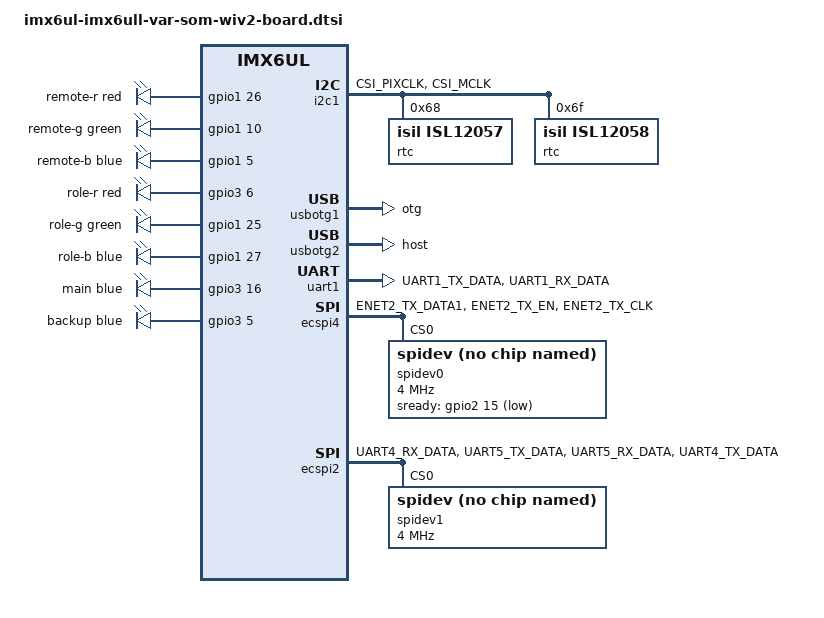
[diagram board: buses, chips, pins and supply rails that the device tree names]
/*
 * Copyright (C) 2019 Variscite Ltd. - https://www.variscite.com
 *
 * This program is free software; you can redistribute it and/or modify
 * it under the terms of the GNU General Public License version 2 as
 * published by the Free Software Foundation.
 */

#include <dt-bindings/leds/common.h>

/ {
	/* UART Console*/
	chosen {
		stdout-path = &uart1;
	};

	/* Concerto BP*/
	/*keys {
		compatible = "gpio-keys";
		pinctrl-names = "default";
		pinctrl-0 = <&pinctrl_gpio_keys>, <&pinctrl_gpio_keys_snvs>;

		back {
			gpios = <&gpio4 14 GPIO_ACTIVE_LOW>;
			linux,code = <KEY_BACK>;
		};

		wakeup {
			gpios = <&gpio5 8 GPIO_ACTIVE_LOW>;
			linux,code = <KEY_WAKEUP>;
			gpio-key,wakeup;
		};
	};*/

	leds {
		compatible = "gpio-leds";
		pinctrl-names = "default";
		pinctrl-0 = <&pinctrl_gpio_leds>;

		remote-R {
			gpios = <&gpio1 26 GPIO_ACTIVE_HIGH>;
			color = <LED_COLOR_ID_RED>;
			label = "remote-r";
		};
		remote-G {
			gpios = <&gpio1 10 GPIO_ACTIVE_HIGH>;
			color = <LED_COLOR_ID_GREEN>;
			label = "remote-g";
		};
		remote-B {
			gpios = <&gpio1 5 GPIO_ACTIVE_HIGH>;
			color = <LED_COLOR_ID_BLUE>;
			label = "remote-b";
			default-state = "on";
		};
		role-R {
			gpios = <&gpio3 6 GPIO_ACTIVE_HIGH>;
			color = <LED_COLOR_ID_RED>;
			label = "role-r";
		};
		role-G {
			gpios = <&gpio1 25 GPIO_ACTIVE_HIGH>;
			color = <LED_COLOR_ID_GREEN>;
			label = "role-g";
		};
		role-B {
			gpios = <&gpio1 27 GPIO_ACTIVE_HIGH>;
			color = <LED_COLOR_ID_BLUE>;
			label = "role-b";
			default-state = "on";
		};
		main {
			gpios = <&gpio3 16 GPIO_ACTIVE_HIGH>;
			color = <LED_COLOR_ID_BLUE>;
			label = "main";
			default-state = "on";
		};
		backup {
			gpios = <&gpio3 5 GPIO_ACTIVE_HIGH>;
			color = <LED_COLOR_ID_BLUE>;
			label = "backup";
			default-state = "on";
		};
	};

	/* 7.1 audio */
	/*sound-cs42888 {
		compatible = "fsl,imx-audio-cs42888";
		model = "imx-cs42888";
		audio-cpu = <&esai>;
		audio-asrc = <&asrc>;
		#audio-codec = <&codec>;
		audio-routing =
			"Line Out Jack", "O1ALL",
			"Line Out Jack", "O2CR",
			"Line Out Jack", "O3ABCR",
			"Line Out Jack", "O4TBD",
			"Line Out Jack", "O5TBD",
			"Line Out Jack", "O6TBD",
			"Line Out Jack", "O7TBD",
			"Line Out Jack", "O8TBD",
			"I1TBD", "Line In Jack",
			"I2TBD", "Line In Jack",
			"I3TBD", "Line In Jack",
			"I4TBD", "Line In Jack";
	};*/
};

&fec1 {
	pinctrl-0 = <&pinctrl_enet1>, <&pinctrl_enet1_gpio>;
	/*/delete-node/ mdio;*/
};

&fec2 {
	status = "disabled";
	/*pinctrl-names = "default";
	pinctrl-0 = <&pinctrl_enet2>, <&pinctrl_enet2_gpio>, <&pinctrl_enet2_mdio>;
	phy-mode = "rmii";
	phy-handle = <&ethphy1>;
	phy-reset-gpios=<&gpio5 5 GPIO_ACTIVE_LOW>;
	phy-reset-duration=<100>;

	mdio {
		#address-cells = <1>;
		#size-cells = <0>;

		ethphy0: ethernet-phy@1 {
			compatible = "ethernet-phy-ieee802.3-c22";
			micrel,rmii-reference-clock-select-25-mhz;
			micrel,led-mode = <1>;
			clocks = <&rmii_ref_clk>;
			clock-names = "rmii-ref";
			reg = <1>;
		};

		ethphy1: ethernet-phy@3 {
			compatible = "ethernet-phy-ieee802.3-c22";
			micrel,rmii-reference-clock-select-25-mhz;
			micrel,led-mode = <0>;
			clocks = <&rmii_ref_clk>;
			clock-names = "rmii-ref";
			reg = <3>;
		};
	};*/
};

/*I2C for RTC*/
&i2c1 {
	clock_frequency = <400000>;			//<100000>;
	pinctrl-names = "default";
	pinctrl-0 = <&pinctrl_i2c1>;
	status = "okay";

	// ISL12057 RTC module
	rtc@68 {
		compatible = "isil,isl12057";
		reg = <0x68>;
		pinctrl-names = "default";
	};

	// ISL12058 RTC module
	rtc@6f {
		compatible = "isil,isl12058";
		reg = <0x6f>;
		pinctrl-names = "default";
	};
};

&iomuxc {
	// pinctrl_enet2: enet2grp {
	// 	fsl,pins = <
	// 		MX6UL_PAD_ENET2_RX_EN__ENET2_RX_EN	0x1b0b0
	// 		MX6UL_PAD_ENET2_RX_ER__ENET2_RX_ER	0x1b0b0
	// 		MX6UL_PAD_ENET2_RX_DATA0__ENET2_RDATA00	0x1b0b0
	// 		MX6UL_PAD_ENET2_RX_DATA1__ENET2_RDATA01	0x1b0b0
	// 		MX6UL_PAD_ENET2_TX_EN__ENET2_TX_EN	0x1b0b0
	// 		MX6UL_PAD_ENET2_TX_DATA0__ENET2_TDATA00	0x1b0b0
	// 		MX6UL_PAD_ENET2_TX_DATA1__ENET2_TDATA01	0x1b0b0
	// 		MX6UL_PAD_ENET2_TX_CLK__ENET2_REF_CLK2	0x4001b031
	// 	>;
	// };

	// pinctrl_enet2_mdio: enet2_mdiogrp {
	// 	fsl,pins = <
	// 		MX6UL_PAD_GPIO1_IO06__ENET2_MDIO	0x1b0b0
	// 		MX6UL_PAD_GPIO1_IO07__ENET2_MDC		0x1b0b0
	// 	>;
	// };

	// pinctrl_gpio_keys: gpio_keysgrp {
	// 	fsl,pins = <
	// 		MX6UL_PAD_NAND_CE1_B__GPIO4_IO14	0x17059 /*BP Back */
	// 	>;
	// };
	/* will be top sync STM*/
	// pinctrl_gpio_leds: gpio_ledsgrp {
	// 	fsl,pins = <
	// 		MX6UL_PAD_UART3_RX_DATA__GPIO1_IO25	0x1b0b0	/* GPLED2 */
	// 	>;
	// };

	pinctrl_gpio_leds: gpio_ledsgrp {
		fsl,pins = <
			MX6UL_PAD_GPIO1_IO05__GPIO1_IO05	0x1b0b0	/* LED Remote blue */
			MX6UL_PAD_JTAG_MOD__GPIO1_IO10		0x1b0b0	/* LED Remote green */
			MX6UL_PAD_UART3_CTS_B__GPIO1_IO26	0x1b0b0	/* LED Remote red */
			MX6UL_PAD_UART3_RTS_B__GPIO1_IO27	0x1b0b0	/* LED Role blue */
			MX6UL_PAD_UART3_RX_DATA__GPIO1_IO25	0x1b0b0	/* LED Role green */
			MX6UL_PAD_LCD_DATA01__GPIO3_IO06	0x1b0b0	/* LED Role blue */
			MX6UL_PAD_LCD_DATA00__GPIO3_IO05	0x1b0b0	/* LED backup blue */
			MX6UL_PAD_LCD_DATA11__GPIO3_IO16	0x1b0b0	/* LED main blue */
		>;
	};

	/* I2C for RTC */
	pinctrl_i2c1: i2c1grp {
		fsl,pins = <
			MX6UL_PAD_CSI_PIXCLK__I2C1_SCL		0x4001b8b0
			MX6UL_PAD_CSI_MCLK__I2C1_SDA		0x4001b8b0
		>;
	};

	/* RTC IRQ --> will be clk STM32*/
	// pinctrl_rtc: rtcgrp {
	// 	fsl,pins = <
	// 		MX6UL_PAD_JTAG_MOD__GPIO1_IO10		0x1b0b0 /* RTC alarm IRQ */
	// 	>;
	// };

	/* UARD debug console pinout*/
	pinctrl_uart1: uart1grp {
		fsl,pins = <
			MX6UL_PAD_UART1_TX_DATA__UART1_DCE_TX	0x1b0b1
			MX6UL_PAD_UART1_RX_DATA__UART1_DCE_RX	0x1b0b1
		>;
	};

	/* UART STM <-> WEB (configurateur) */
	pinctrl_uart5: uart5grp {
		fsl,pins = <
			MX6UL_PAD_CSI_DATA00__UART5_DCE_TX	0x1b0b1
			MX6UL_PAD_CSI_DATA01__UART5_DCE_RX	0x1b0b1
			/*MX6UL_PAD_GPIO1_IO09__UART5_DCE_CTS	0x1b0b1
			MX6UL_PAD_GPIO1_IO08__UART5_DCE_RTS	0x1b0b1*/
		>;
	};

	// pinctrl_usb_otg1_id: usbotg1idgrp {
	// 	fsl,pins = <
	// 		MX6UL_PAD_UART3_TX_DATA__ANATOP_OTG1_ID	0x17059
	// 	>;
	// };

	/*pinctrl_wdog: wdoggrp {
		fsl,pins = <
			MX6UL_PAD_GPIO1_IO01__WDOG1_WDOG_B	0x78b0
		>;
	};*/

	/*pinctrl_esai: esaigrp {
		fsl,pins = <
			MX6ULL_PAD_CSI_DATA05__ESAI_TX_CLK 	0x1b030
			MX6ULL_PAD_CSI_DATA04__ESAI_TX_FS   0x1b030
			MX6ULL_PAD_CSI_MCLK__ESAI_TX3_RX2 	0x1b030
			MX6ULL_PAD_CSI_PIXCLK__ESAI_TX2_RX3 0x1b030
			MX6ULL_PAD_CSI_VSYNC__ESAI_TX4_RX1  0x1b030
			MX6ULL_PAD_CSI_DATA06__ESAI_TX5_RX0 0x1b030
			MX6ULL_PAD_CSI_DATA07__ESAI_T0      0x1b030
			MX6ULL_PAD_CSI_HSYNC__ESAI_TX1      0x1b030
			MX6ULL_PAD_CSI_DATA03__ESAI_RX_CLK  0x1b030
			MX6ULL_PAD_CSI_DATA02__ESAI_RX_FS   0x1b030
		>;
	};*/

	/* Audio SAI1 / I2S1 */
	pinctrl_sai1: sai1grp {
		fsl,pins = <
			MX6UL_PAD_CSI_DATA07__SAI1_TX_DATA	0x1f0b8
			MX6UL_PAD_CSI_DATA06__SAI1_RX_DATA	0x110b0
			MX6UL_PAD_CSI_DATA05__SAI1_TX_BCLK	0x1b0b0
			MX6UL_PAD_CSI_DATA04__SAI1_TX_SYNC	0x1b0b0
			MX6UL_PAD_CSI_DATA03__SAI1_RX_BCLK	0x1f0b8
			MX6UL_PAD_CSI_DATA02__SAI1_RX_SYNC	0x1f0b8
		>;
	};
	
	/* Audio SAI3 / I2S3 */
	// pinctrl_sai3: sai3grp {
	// 	fsl,pins = <
	// 		MX6UL_PAD_LCD_CLK__SAI3_MCLK		0x17088
	// 		MX6UL_PAD_LCD_DATA11__SAI3_RX_BCLK	0x17088
	// 		MX6UL_PAD_LCD_VSYNC__SAI3_RX_DATA	0x11088
	// 		MX6UL_PAD_LCD_DATA10__SAI3_RX_SYNC	0x11088
	// 		MX6UL_PAD_LCD_DATA13__SAI3_TX_BCLK	0x17088
	// 		MX6UL_PAD_LCD_RESET__SAI3_TX_DATA	0x11088
	// 		MX6UL_PAD_LCD_ENABLE__SAI3_TX_SYNC	0x17088
	// 	>;
	// };

	/* ECSPI 4 */
	pinctrl_ecspi4: ecspi4grp {
		fsl,pins = <
			MX6UL_PAD_ENET2_TX_DATA1__ECSPI4_SCLK	0x1b0b1 /*0x70a1*/
			MX6UL_PAD_ENET2_TX_EN__ECSPI4_MOSI	0x1b0b1	/*0x70a1*/
			MX6UL_PAD_ENET2_TX_CLK__ECSPI4_MISO	0x1b0b1	/*0x70a1*/
			/*MX6UL_PAD_ENET2_RX_ER__ECSPI4_SS0	0x1b0b1*/	/*0x70a1*/
		>;
	};

	/* ECSPI 2 */
	pinctrl_ecspi2: ecspi2grp {
		fsl,pins = <
			/* 0x1019=CMOS output, 50MHz, DSE=80Ohm, Fast Slew Rate */
			/* 0x1031=100k pull-down, Keeper enabled, 50MHz, Fast Slew Rate */
			MX6UL_PAD_UART4_RX_DATA__ECSPI2_SS0	0x1019	/* GPIO1_29 */
			MX6UL_PAD_UART5_TX_DATA__ECSPI2_MOSI	0x1019	/* CSPI_MOSI 1031 */
			MX6UL_PAD_UART5_RX_DATA__ECSPI2_MISO	0x1031	/* CSPI_MISO */
			MX6UL_PAD_UART4_TX_DATA__ECSPI2_SCLK	0x1019	/* CSPI_SCLK */
		>;
	};
};

&snvs_pwrkey {
	status = "disabled";
};

&snvs_rtc {
	status = "disabled";
};

&tsc {
	/*
	 * Conflics with wdog1 ext-reset-output & SD CD pins,
	 * so we keep it disabled by default
	 */
	status = "disabled";
};

//USB slave (configurator)
&usbotg1 {
	//pinctrl-names = "default";
	//pinctrl-0 = <&pinctrl_usb_otg1_id>;
	dr_mode = "otg";
	disable-over-current;
	srp-disable;
	hnp-disable;
	adp-disable;
	status = "okay";
};

//USB host (for usb keys)
&usbotg2 {
	dr_mode = "host";
	disable-over-current;
	status = "okay";
};

/* Console UART */
&uart1 {
	pinctrl-names = "default";
	pinctrl-0 = <&pinctrl_uart1>;
	status = "okay";
};

// &wdog1 {
// 	pinctrl-names = "default";
// 	pinctrl-0 = <&pinctrl_wdog>;
// 	/*
// 	 * To actually use ext-reset-output
// 	 * connect pins J17.3 & J17.8 on the Concerto-Board
// 	 */
// 	fsl,ext-reset-output;
// };

/*
&sai1 {
	pinctrl-names = "default";
	pinctrl-0 = <&pinctrl_sai2>;
	assigned-clocks = <&clks IMX6UL_CLK_SAI2_SEL>,
			  <&clks IMX6UL_CLK_SAI2>;
	assigned-clock-parents = <&clks IMX6UL_CLK_PLL4_AUDIO_DIV>;
	assigned-clock-rates = <0>, <12288000>;
	fsl,sai-mclk-direction-output;
	status = "okay";
};

&sai3 {
	pinctrl-names = "default";
	pinctrl-0 = <&pinctrl_sai3>;
	assigned-clocks = <&clks IMX6UL_CLK_SAI2_SEL>,
			  <&clks IMX6UL_CLK_SAI2>;
	assigned-clock-parents = <&clks IMX6UL_CLK_PLL4_AUDIO_DIV>;
	assigned-clock-rates = <0>, <12288000>;
	fsl,sai-mclk-direction-output;
	status = "okay";
};
*/

/* SPI STM 32 : Master with Slave-Ready GPIO */
&ecspi4 {
	/*fsl,spi-num-chipselects = <1>;
	cs-gpios = <&gpio2 15 0>;*/
	pinctrl-names = "default";
	pinctrl-0 = <&pinctrl_ecspi4>;
	/*#address-cells = <0>;
	spi-slave;*/
	status = "okay";
	sready-gpios = <&gpio2 15 GPIO_ACTIVE_LOW>;

    /*slave{
        compatible = "spidev";
        spi-max-frequency = <4000000>;
		status = "okay";
    };*/
	spidev0: spi@0 {
		compatible = "var,spidev";
		spi-max-frequency = <4000000>;
		reg = <0>;
		status = "okay";
		sready-gpios = <&gpio2 15 GPIO_ACTIVE_LOW>;
    };
};

/* SPI AVBx7 : Master */
&ecspi2 {
	fsl,spi-num-chipselects = <1>;
	cs-gpios = <0>;
	pinctrl-names = "default";
	pinctrl-0 = <&pinctrl_ecspi2>;
	status = "okay";

	spidev1: spi@0 {
        compatible = "var,spidev";
        spi-max-frequency = <4000000>;
        reg = <0>;
		status = "okay";
    };

	/*spi-slave;
	status = "okay";
	slave{
        compatible = "spidev";
        spi-max-frequency = <4000000>;
		reg = <0>;
		status = "okay";
    };*/
};

/*
&asrc {
	fsl,asrc-rate  = <48000>;
	status = "okay";
};
*/
